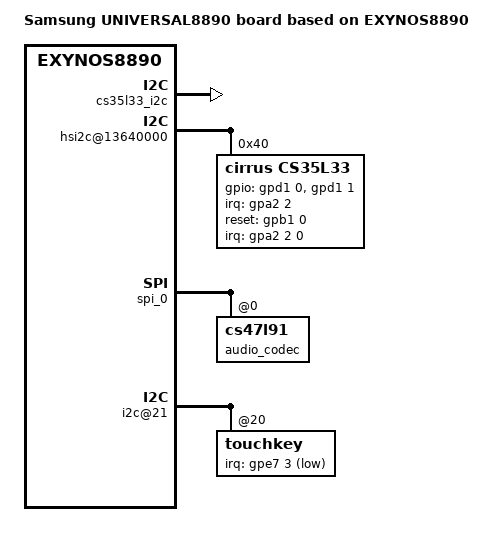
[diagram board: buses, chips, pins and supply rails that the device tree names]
/*
 * SAMSUNG UNIVERSAL8890 board device tree source
 *
 * Copyright (c) 2015 Samsung Electronics Co., Ltd.
 *		http://www.samsung.com
 *
 * This program is free software; you can redistribute it and/or modify
 * it under the terms of the GNU General Public License version 2 as
 * published by the Free Software Foundation.
*/
/dts-v1/;
#include "exynos8890-vlte_common.dtsi"
#include "exynos8890-vlte_gpio_03.dtsi"
#include "exynos8890-sound-cs47l91.dtsi"
#include "exynos8890-vlte_eur_battery_01.dtsi"
#include "exynos8890-vlte_display_02.dtsi"
#include "exynos8890-vlte_mst_01.dtsi"
#include "exynos8890-vlte_fingerprint-sensor_00.dtsi"
/ {

	model = "Samsung UNIVERSAL8890 board based on EXYNOS8890";
	model_info-chip = <8890>;
	model_info-platform = "android";
	model_info-subtype = "samsung";
	model_info-hw_rev = <3>;
	model_info-hw_rev_end = <255>;
	compatible = "samsung,exynos8890","samsung,UNIVERSAL8890";

	audio_pdata {
		compatible = "samsung,audio-pdata";
		seamless_voicewakeup;
		status = "okay";
	};

	pinctrl@10580000 {
		codec_irq: codec-irq {
			samsung,pins = "gpa2-6";
			samsung,pin-function = <0xf>;
			samsung,pin-pud = <0>;
		};
		cs35l33_ctrl: cs35l33-ctl {
			samsung,pins ="gpa2-2";
			samsung,pin-function = <0>;
			samsung,pin-pud = <0>;
			samsung,pin-con-pdn =<2>;
			samsung,pin-pud-pdn = <0>;
		};
		attn_irq: attn-irq {
			samsung,pins = "gpa1-0";
			samsung,pin-function = <0xf>;
			samsung,pin-pud = <0>;
			samsung,pin-drv = <0>;
		};
		attn_input: attn-input {
			samsung,pins = "gpa1-0";
			samsung,pin-function = <0>;
			samsung,pin-pud = <1>;
		};
	};

	pinctrl@136D0000 {
		cs35l33_reset: cs35l33-reset {
			samsung,pins ="gpb1-0";
			samsung,pin-function = <1>;
			samsung,pin-pud = <0>;
			samsung,pin-con-pdn = <3>;
			samsung,pin-pud-pdn = <0>;
			samsung,pin-val = <0>;
		};

		cs35l33_i2c: cs35l33-i2c {
			samsung,pins = "gpd1-0", "gpd1-1";
			samsung,pin-pud = <0>;
			status = "okay";
		};
	};

	pinctrl@14CC0000 {
		codec_reset: codec-reset {
			samsung,pins ="gpe6-5";
			samsung,pin-function = <1>;
			samsung,pin-pud = <1>;
			samsung,pin-con-pdn =<3>;
			samsung,pin-pud-pdn = <1>;
			samsung,pin-val = <0>;
		};
		/* sub touchkey interrupt*/
		cfg_irq_sub: cfg-irq-sub {
			samsung,pins = "gpe7-3";
			samsung,pin-function = <0xf>;
			samsung,pin-pud = <3>;
			samsung,pin-drv = <0>;
		};
		cfg_input_sub: cfg-input-sub {
			samsung,pins = "gpe7-3";
			samsung,pin-function = <0>;
			samsung,pin-pud = <1>;
			samsung,pin-drv = <0>;
		};
	};

	hsi2c@13640000 {
		status = "okay";

		cs35l33@40 {
			compatible = "cirrus,cs35l33";
			reg = <0x40>;
			pinctrl-names = "default";
			pinctrl-0 = <&cs35l33_i2c &cs35l33_reset &cs35l33_ctrl>;
			gpios = <&gpd1 0 0
				&gpd1 1 0
				>;
			interrupt-parent = <&gpa2>;
			interrupts = <2 0 0>;

			//VA-supply = <&ldo3_reg>;
			//VP-supply = <&ldo3_reg>;

			boost-ctl = <0x30>; /* for 8V Boost */
			boost-ipk = <0xC0>;

			irq-gpios = <&gpa2 2 0>;
			reset-gpios = <&gpb1 0 0>;
			hg-algo {
				mem-depth = <0x3>;
				release-rate = <0x3>;
				hd-rm = <0x6>; /* recommend Class GH headroom as 0.6V */
				ldo-thld = <0x1>;
				ldo-path-disable = <0x0>;
				ldo-entry-delay=<0x4>;
				/* vp-hg-auto; */
				vp-hg=<0x05>; /* for 3.0V VP voltage */
				vp-hg-rate=<0x2>;
				vp-hg-va=<0x0>;
			};
		};
	};

	sound {
		samsung,audio-routing =
			"HP", "HPOUT1L",
			"HP", "HPOUT1R",
			"AIF4 Capture", "OPCLK",
			"CS35L33 Playback", "AIF4 Capture",
			"SPK", "SPEAKER",
			"RCV", "HPOUT3L",
			"RCV", "HPOUT3R",
			"Main Mic", "MICBIAS2A",
			"IN1AR", "Main Mic",
			"Headset Mic", "MICBIAS1A",
			"IN2BL", "Headset Mic",
			"Sub Mic", "MICBIAS2B",
			"IN3L", "Sub Mic",
			"AIF4 Playback", "OPCLK",
			"AIF4 Playback", "CS35L33 Capture",
			"CS35L33 Capture", "VI SENSING",
			"IN3L", "FM In",
			"IN3R", "FM In";
	};

	spi_0: spi@14d20000 {
		audio_codec: cs47l91@0 {
			wlf,gpio-defaults = <
				0x00002040 0x00001000 /* GPIO1 */
				0xffffffff 0xffffffff /* GPIO2 */
				0xffffffff 0xffffffff /* GPIO3 */
				0xffffffff 0xffffffff /* GPIO4 */
				0xffffffff 0xffffffff /* GPIO5 */
				0xffffffff 0xffffffff /* GPIO6 */
				0xffffffff 0xffffffff /* GPIO7 */
				0xffffffff 0xffffffff /* GPIO8 */
				0xffffffff 0xffffffff /* MIF1SCLK / GPIO9 */
				0xffffffff 0xffffffff /* MIF1SDA / GPIO10 */
				0xffffffff 0xffffffff /* MIF2SCLK / GPIO11 */
				0xffffffff 0xffffffff /* MIF2SDA / GPIO12 */
				0xffffffff 0xffffffff /* MIF3SCLK / GPIO13 */
				0xffffffff 0xffffffff /* MIF3SDA / GPIO14 */
				0x00002000 0x00006000 /* AIF1TXDAT / GPIO15 */
				0x00002000 0x00006000 /* AIF1BCLK / GPIO16 */
				0x00002000 0x00006000 /* AIF1RXDAT / GPIO17 */
				0x00002000 0x00006000 /* AIF1LRCLK / GPIO18 */
				0x00002000 0x00006000 /* AIF2TXDAT / GPIO19 */
				0x00002000 0x00006000 /* AIF2BCLK / GPIO20 */
				0x00002000 0x00006000 /* AIF2RXDAT / GPIO21 */
				0x00002000 0x00006000 /* AIF2LRCLK / GPIO22 */
				0x00002000 0x00006000 /* AIF3TXDAT / GPIO23 */
				0x00002000 0x00006000 /* AIF3BCLK / GPIO24 */
				0x00002000 0x00006000 /* AIF3RXDAT / GPIO25 */
				0x00002000 0x00006000 /* AIF3LRCLK / GPIO26 */
				0x00002000 0x00006000 /* AIF4TXDAT / GPIO27 */
				0x00002000 0x00006000 /* AIF4BCLK / GPIO28 */
				0x00002000 0x00006000 /* AIF4RXDAT / GPIO29 */
				0x00002000 0x00006000 /* AIF4LRCLK / GPIO30 */
				0x00002000 0x00006000 /* DMICCLK4 / GPIO31 */
				0x00002000 0x00006000 /* DMICDAT4 / GPIO32 */
				0x00002000 0x00006000 /* DMICCLK5 / GPIO33 */
				0x00002000 0x00006000 /* DMICDAT5 / GPIO34 */
				0x00002000 0x00006000 /* DMICCLK6 / GPIO35 */
				0x00002000 0x00006000 /* DMICDAT6 / GPIO36 */
				0x00002000 0x00006000 /* SPKCLK1 / GPIO37 */
				0x00002000 0x00006000 /* SPKCLK2 / GPIO38 */
			>;
			adsps {
				adsp@2FFE00 {
					reg = <0x2FFE00>;
					firmware {
						DSM {
							wlf,wmfw-file = "spk-crs";
							wlf,bin-file = "spk-crs";
						};
					};
				};
			};
		};
	};

	i2c@21{
		touchkey@20 {
			abov,irq-gpio = <&gpe7 3 1>;
			abov,regulator_avdd = "VDD_SUB_KEYLED_3.3V";
			abov,fw_path = "abov/abov_valley_sub.fw";
		};
	};
};
